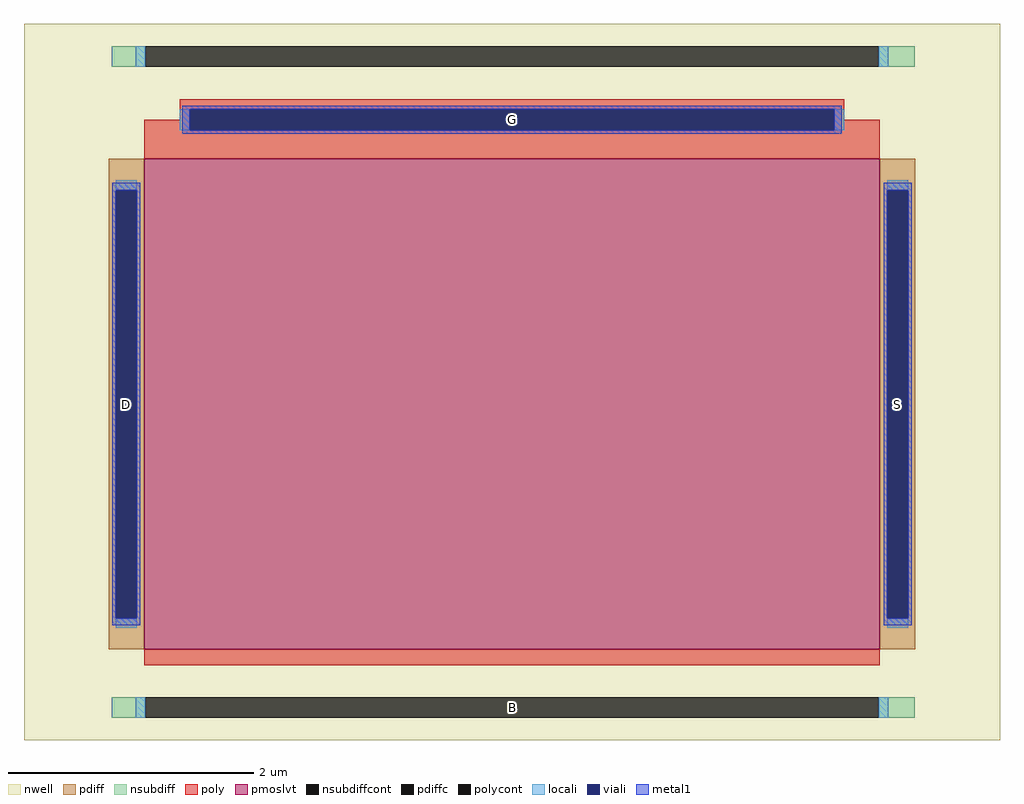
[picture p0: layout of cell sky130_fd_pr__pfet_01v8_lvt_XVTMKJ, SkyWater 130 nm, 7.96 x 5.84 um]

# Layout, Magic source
magic
tech sky130A
magscale 1 2
<< nwell >>
rect -796 -584 796 584
<< pmoslvt >>
rect -600 -436 600 364
<< pdiff >>
rect -658 313 -600 364
rect -658 -385 -646 313
rect -612 -385 -600 313
rect -658 -436 -600 -385
rect 600 313 658 364
rect 600 -385 612 313
rect 646 -385 658 313
rect 600 -436 658 -385
<< pdiffc >>
rect -646 -385 -612 313
rect 612 -385 646 313
<< nsubdiff >>
rect -653 514 -598 548
rect 598 514 657 548
rect -653 -548 -598 -514
rect 598 -548 657 -514
<< nsubdiffcont >>
rect -598 514 598 548
rect -598 -548 598 -514
<< poly >>
rect -542 445 542 461
rect -542 428 -526 445
rect -600 411 -526 428
rect 526 428 542 445
rect 526 411 600 428
rect -600 364 600 411
rect -600 -462 600 -436
<< polycont >>
rect -526 411 526 445
<< locali >>
rect -614 514 -598 548
rect 598 514 614 548
rect -542 411 -526 445
rect 526 411 542 445
rect -646 313 -612 329
rect -646 -401 -612 -385
rect 612 313 646 329
rect 612 -401 646 -385
rect -614 -548 -598 -514
rect 598 -548 614 -514
<< viali >>
rect -526 411 526 445
rect -646 -385 -612 313
rect 612 -385 646 313
<< metal1 >>
rect -538 445 538 451
rect -538 411 -526 445
rect 526 411 538 445
rect -538 405 538 411
rect -652 313 -606 325
rect -652 -385 -646 313
rect -612 -385 -606 313
rect -652 -397 -606 -385
rect 606 313 652 325
rect 606 -385 612 313
rect 646 -385 652 313
rect 606 -397 652 -385
<< labels >>
rlabel nsubdiffcont 0 -531 0 -531 0 B
port 1 nsew
rlabel pdiffc -629 -36 -629 -36 0 D
port 2 nsew
rlabel pdiffc 629 -36 629 -36 0 S
port 3 nsew
rlabel polycont 0 428 0 428 0 G
port 4 nsew
<< properties >>
string FIXED_BBOX -743 -531 743 531
string gencell sky130_fd_pr__pfet_01v8_lvt
string library sky130
string parameters w 4 l 6 m 1 nf 1 diffcov 90 polycov 90 guard 1 glc 0 grc 0 gtc 1 gbc 1 tbcov 90 rlcov 90 topc 1 botc 0 poverlap 0 doverlap 1 lmin 0.35 wmin 0.42 class mosfet compatible {sky130_fd_pr__pfet_01v8  sky130_fd_pr__pfet_01v8_lvt sky130_fd_pr__pfet_01v8_hvt  sky130_fd_pr__pfet_g5v0d10v5} full_metal 0 conn_gates 0 viasrc 90 viadrn 90 viagate 90 viagb 0 viagr 0 viagl 0 viagt 0 doports 1
<< end >>
